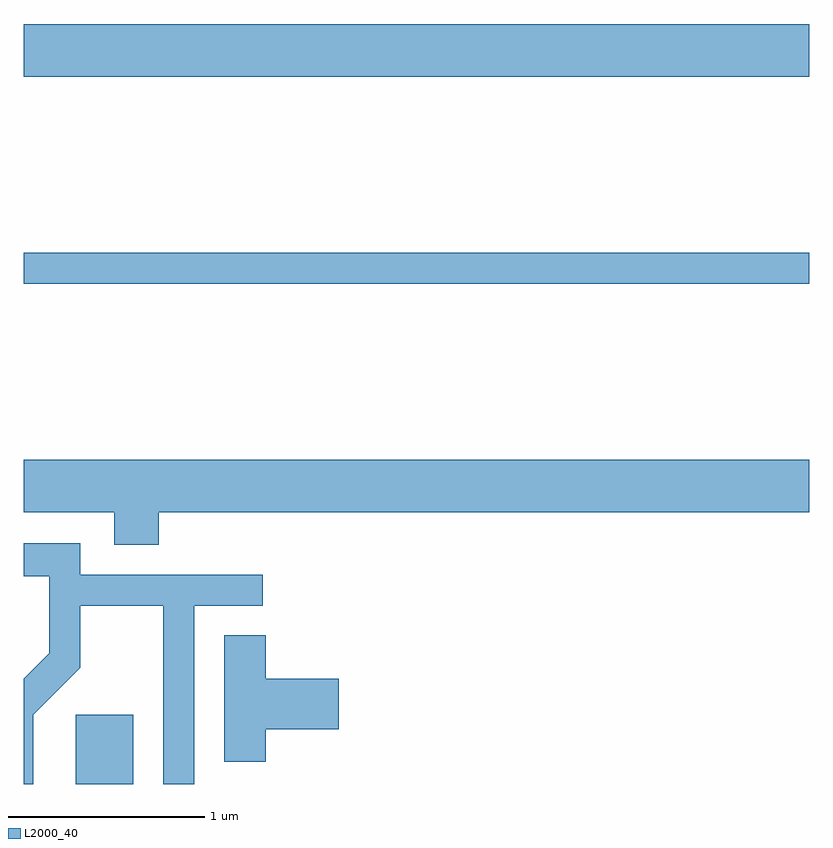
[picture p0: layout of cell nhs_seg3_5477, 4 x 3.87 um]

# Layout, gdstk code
import gdstk
lib = gdstk.Library(unit=1e-6, precision=1e-09)
def R(c, l, rs):  # rectangles x0, y0, x1, y1
    for r in rs: c.add(gdstk.rectangle(r[:2], r[2:], *l))
def P(c, l, *ps):  # polygons
    for p in ps: c.add(gdstk.Polygon(p, *l))
L2000_40 = (2000, 40)

nhs_seg3_5477 = lib.new_cell('nhs_seg3_5477')
R(nhs_seg3_5477, L2000_40, [(345.876,1197.892,346.169,1198.244), (345.611,1200.441,349.611,1200.599), (345.611,1201.496,349.611,1201.764)])
P(nhs_seg3_5477, L2000_40, [(346.299,1199.276),(349.611,1199.276),(349.611,1199.544),(345.611,1199.544),(345.611,1199.276),(346.071,1199.276),(346.071,1199.111),(346.299,1199.111)],
  [(345.659,1198.244),(345.899,1198.484),(345.899,1198.801),(346.321,1198.801),(346.321,1197.892),(346.479,1197.892),(346.479,1198.801),(346.828,1198.801),(346.828,1198.959),(345.899,1198.959),(345.899,1199.119),(345.611,1199.119),(345.611,1198.951),(345.741,1198.951),(345.741,1198.557),(345.611,1198.427),(345.611,1197.892),(345.659,1197.892)],
  [(346.844,1198.171),(347.214,1198.171),(347.214,1198.429),(346.844,1198.429),(346.844,1198.649),(346.631,1198.649),(346.631,1198.006),(346.844,1198.006)])

lib.write_gds('nhs_seg3_5477.gds')
